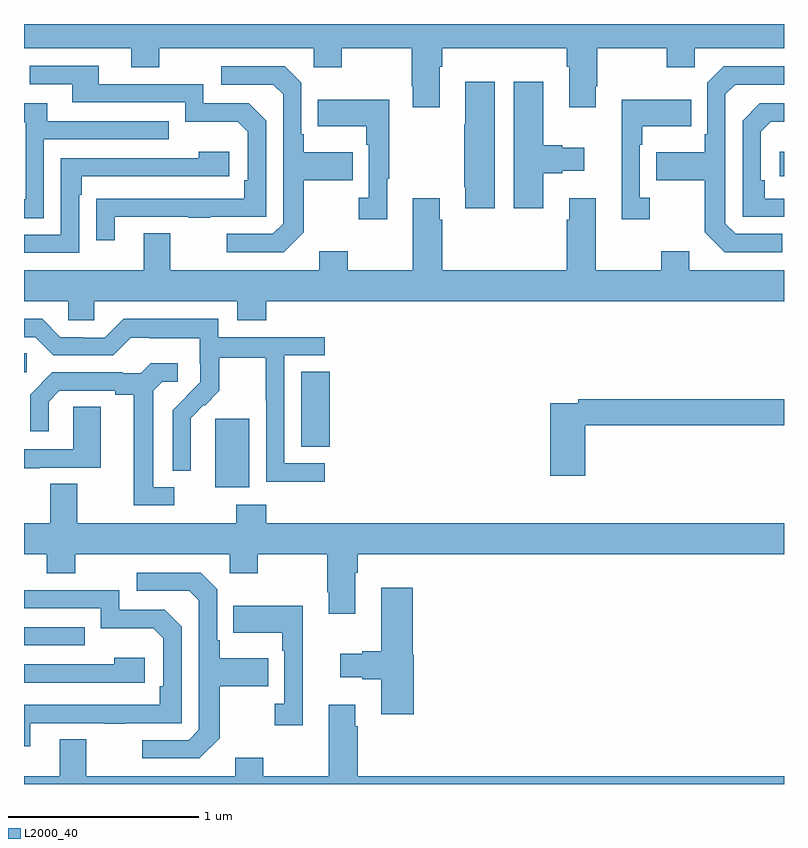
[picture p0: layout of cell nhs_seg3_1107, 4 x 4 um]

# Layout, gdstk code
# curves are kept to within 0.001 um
import gdstk
lib = gdstk.Library(unit=1e-6, precision=1e-09)
def R(c, l, rs):  # rectangles x0, y0, x1, y1
    for r in rs: c.add(gdstk.rectangle(r[:2], r[2:], *l))
def P(c, l, *ps):  # polygons
    for p in ps: c.add(gdstk.Polygon(p, *l))
L2000_40 = (2000, 40)

nhs_seg3_1107 = lib.new_cell('nhs_seg3_1107')
R(nhs_seg3_1107, L2000_40, [(169,675.129,169.319,675.225), (170.006,675.962,170.185,676.323), (170.459,676.174,170.609,676.571), (169,676.566,169.015,676.667), (172.977,677.598,173,677.728)])
P(nhs_seg3_1107, L2000_40, [(171.187,678.176),(171.2,678.176),(171.2,678.272),(171.857,678.272),(171.857,678.176),(171.869,678.176),(171.869,677.961),(172.009,677.961),(172.009,678.073),(172.017,678.073),(172.017,678.272),(172.384,678.272),(172.384,678.173),(172.53,678.173),(172.53,678.272),(173,678.272),(173,678.4),(169,678.4),(169,678.272),(169.565,678.272),(169.565,678.173),(169.713,678.173),(169.713,678.272),(170.526,678.272),(170.526,678.173),(170.673,678.173),(170.673,678.272),(171.04,678.272),(171.04,678.073),(171.047,678.073),(171.047,677.961),(171.187,677.961)],
  [(169.477,677.385),(169.867,677.385),(169.867,677.38),(169.979,677.38),(169.979,677.385),(170.274,677.385),(170.274,677.892),(170.184,677.982),(169.944,677.982),(169.944,678.084),(169.393,678.084),(169.393,678.18),(169.029,678.18),(169.029,678.084),(169.253,678.084),(169.253,677.988),(169.848,677.988),(169.848,677.885),(170.125,677.885),(170.178,677.832),(170.178,677.578),(170.158,677.578),(170.158,677.481),(169.381,677.48),(169.381,677.262),(169.477,677.262)],
  [(170.473,677.305),(170.473,677.578),(170.729,677.578),(170.729,677.725),(170.473,677.725),(170.473,677.821),(170.46,677.821),(170.46,678.09),(170.373,678.177),(170.037,678.177),(170.037,678.081),(170.313,678.081),(170.364,678.03),(170.364,677.349),(170.31,677.295),(170.067,677.295),(170.067,677.199),(170.367,677.199)],
  [(172.99,677.295),(172.746,677.295),(172.692,677.349),(172.692,678.03),(172.743,678.081),(173,678.081),(173,678.177),(172.683,678.177),(172.596,678.09),(172.596,677.821),(172.584,677.821),(172.584,677.725),(172.327,677.725),(172.327,677.578),(172.584,677.578),(172.584,677.305),(172.689,677.199),(172.99,677.199)],
  [(171.733,677.615),(171.833,677.615),(171.833,677.627),(171.949,677.627),(171.949,677.749),(171.833,677.749),(171.833,677.762),(171.733,677.762),(171.733,678.097),(171.578,678.097),(171.578,677.43),(171.733,677.43)],
  [(171.478,678.097),(171.323,678.097),(171.323,677.873),(171.316,677.873),(171.316,677.542),(171.323,677.542),(171.323,677.43),(171.478,677.43)],
  [(172.294,677.486),(172.242,677.486),(172.242,677.765),(172.255,677.765),(172.255,677.861),(172.511,677.861),(172.511,678.001),(172.145,678.001),(172.145,677.373),(172.294,677.373)],
  [(170.911,677.585),(170.923,677.585),(170.923,678.001),(170.545,678.001),(170.545,677.861),(170.802,677.861),(170.802,677.765),(170.814,677.765),(170.814,677.486),(170.763,677.486),(170.763,677.373),(170.911,677.373)],
  [(169.104,677.793),(169.763,677.793),(169.763,677.889),(169.123,677.889),(169.123,677.983),(169,677.983),(169,677.883),(169.008,677.883),(169.008,677.478),(169,677.478),(169,677.377),(169.104,677.377)],
  [(173,677.481),(172.898,677.481),(172.898,677.578),(172.878,677.578),(172.878,677.832),(172.931,677.885),(173,677.885),(173,677.982),(172.872,677.982),(172.782,677.892),(172.782,677.385),(173,677.385)],
  [(169.29,677.501),(169.303,677.501),(169.303,677.598),(170.08,677.598),(170.08,677.728),(169.919,677.728),(169.919,677.694),(169.194,677.694),(169.194,677.292),(169,677.292),(169,677.196),(169.29,677.196)],
  [(170.276,676.94),(173,676.94),(173,677.104),(172.501,677.104),(172.501,677.203),(172.354,677.203),(172.354,677.104),(172.009,677.104),(172.009,677.482),(171.869,677.482),(171.869,677.369),(171.857,677.369),(171.857,677.104),(171.2,677.104),(171.2,677.369),(171.187,677.369),(171.187,677.482),(171.047,677.482),(171.047,677.104),(170.703,677.104),(170.703,677.203),(170.555,677.203),(170.555,677.104),(169.771,677.104),(169.771,677.299),(169.631,677.299),(169.631,677.104),(169,677.104),(169,676.94),(169.233,676.94),(169.233,676.842),(169.371,676.842),(169.371,676.94),(170.123,676.94),(170.123,676.841),(170.276,676.841)],
  [(170.584,676.089),(170.37,676.089),(170.37,676.656),(170.584,676.656),(170.584,676.752),(170.022,676.752),(170.022,676.849),(169.525,676.849),(169.425,676.749),(169.31,676.749),(169.31,676.752),(169.191,676.752),(169.095,676.848),(169,676.848),(169,676.752),(169.059,676.752),(169.155,676.656),(169.47,676.656),(169.563,676.749),(169.663,676.749),(169.663,676.745),(169.926,676.745),(169.926,676.611),(169.928,676.611),(169.928,676.514),(169.782,676.366),(169.782,676.048),(169.878,676.048),(169.877,676.325),(169.947,676.395),(169.95,676.392),(170.027,676.469),(170.027,676.644),(170.272,676.644),(170.272,676.42),(170.274,676.42),(170.274,675.991),(170.584,675.991)],
  [(169.792,675.963),(169.681,675.963),(169.681,676.471),(169.728,676.518),(169.81,676.518),(169.81,676.615),(169.666,676.615),(169.614,676.563),(169.52,676.563),(169.52,676.566),(169.148,676.566),(169.032,676.45),(169.032,676.257),(169.129,676.257),(169.129,676.413),(169.186,676.47),(169.481,676.47),(169.481,676.448),(169.577,676.448),(169.577,675.867),(169.792,675.867)],
  [(171.953,676.288),(173,676.288),(173,676.424),(171.916,676.424),(171.916,676.404),(171.77,676.404),(171.77,676.023),(171.953,676.023)],
  [(169.081,676.065),(169.405,676.065),(169.405,676.385),(169.26,676.385),(169.26,676.161),(169,676.161),(169,676.061),(169.081,676.061)],
  [(170.743,675.512),(170.756,675.512),(170.756,675.608),(173,675.608),(173,675.772),(170.276,675.772),(170.276,675.871),(170.116,675.871),(170.116,675.772),(169.279,675.772),(169.279,675.98),(169.139,675.98),(169.139,675.772),(169,675.772),(169,675.608),(169.121,675.608),(169.121,675.509),(169.269,675.509),(169.269,675.608),(170.082,675.608),(170.082,675.509),(170.229,675.509),(170.229,675.608),(170.596,675.608),(170.596,675.409),(170.603,675.409),(170.603,675.297),(170.743,675.297)],
  [(170.029,674.641),(170.029,674.914),(170.285,674.914),(170.285,675.061),(170.029,675.061),(170.029,675.157),(170.016,675.157),(170.016,675.426),(169.929,675.513),(169.593,675.513),(169.593,675.417),(169.869,675.417),(169.92,675.366),(169.92,674.685),(169.866,674.631),(169.623,674.631),(169.623,674.535),(169.923,674.535)],
  [(171.052,675.081),(171.047,675.081),(171.047,675.433),(170.879,675.433),(170.879,675.098),(170.78,675.098),(170.78,675.085),(170.664,675.085),(170.664,674.963),(170.78,674.963),(170.78,674.951),(170.879,674.951),(170.879,674.766),(171.052,674.766)],
  [(169.033,674.721),(169.423,674.721),(169.423,674.716),(169.535,674.716),(169.535,674.721),(169.83,674.721),(169.83,675.228),(169.74,675.318),(169.5,675.318),(169.5,675.42),(169,675.42),(169,675.324),(169.404,675.324),(169.404,675.221),(169.681,675.221),(169.734,675.168),(169.734,674.914),(169.714,674.914),(169.714,674.817),(169,674.816),(169,674.598),(169.033,674.598)],
  [(170.468,675.337),(170.101,675.337),(170.101,675.197),(170.358,675.197),(170.358,675.101),(170.37,675.101),(170.37,674.822),(170.319,674.822),(170.319,674.709),(170.468,674.709)],
  [(169.636,675.064),(169.475,675.064),(169.475,675.03),(169,675.03),(169,674.934),(169.636,674.934)],
  [(173,674.44),(170.756,674.44),(170.756,674.705),(170.743,674.705),(170.743,674.818),(170.603,674.818),(170.603,674.44),(170.259,674.44),(170.259,674.539),(170.111,674.539),(170.111,674.44),(169.327,674.44),(169.327,674.635),(169.187,674.635),(169.187,674.44),(169,674.44),(169,674.4),(173,674.4)])

lib.write_gds('nhs_seg3_1107.gds')
